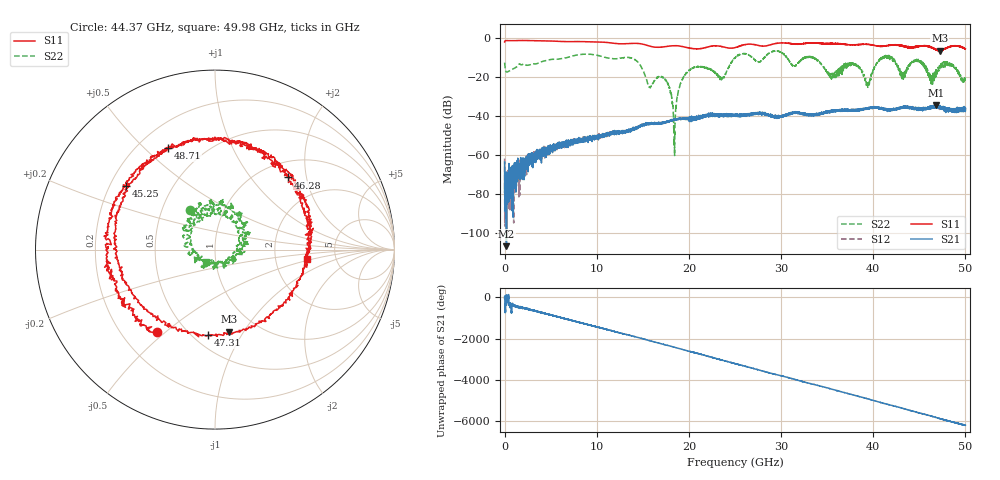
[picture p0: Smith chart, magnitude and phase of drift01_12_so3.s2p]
!Created with skrf (http://scikit-rf.org).
# Hz S RI R 50.0
!freq ReS11 ImS11 ReS21 ImS21 ReS12 ImS12 ReS22 ImS22
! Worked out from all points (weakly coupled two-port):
!   10001 points, 300 kHz to 50 GHz, reference 50 ohm
!   highest |S21| = -34.52 dB at 46.86 GHz (marker M1); lowest = -106.6 dB at 200.3 MHz (marker M2)
!   lowest |S11| = -6.7 dB at 47.21 GHz (marker M3), VSWR 2.73, Z = 37 - j43.2 ohm
!   |S11| at or under -10 dB: nowhere
!   |S22| runs from -60.2 to -6.6 dB; largest |S21 - S12| = 0.0037
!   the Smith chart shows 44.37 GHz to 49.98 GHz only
!   S11 on the Smith chart (normalised r, x): 44.37 GHz: 0.35, -0.47; 45.25 GHz: 0.26, +0.30; 46.28 GHz: 1.31, +1.57; 47.31 GHz: 0.59, -0.73; 48.71 GHz: 0.32, +0.59; 49.98 GHz: 3.05, -0.43
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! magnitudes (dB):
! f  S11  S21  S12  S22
! 300 kHz  -2.1  -63.6  -61.8  -12.7
! 200.3 MHz  -1.4  -106.6  -75.1  -17.5
! 8.335 GHz  -2.0  -51.9  -51.8  -8.5
! 16.67 GHz  -4.9  -43.7  -43.8  -19.9
! 17.74 GHz  -4.4  -42.6  -42.9  -23.6
! 18.43 GHz  -4.1  -41.9  -41.8  -55.7
! 19.91 GHz  -5.1  -41.4  -41.4  -17.1
! 23.59 GHz  -4.5  -39.2  -40.0  -20.4
! 25 GHz  -5.0  -39.4  -39.7  -10.3
! 33.34 GHz  -2.6  -39.3  -39.1  -9.9
! 39.37 GHz  -3.4  -36.1  -36.0  -23.8
! 41.67 GHz  -3.9  -36.8  -37.0  -9.9
! 43.18 GHz  -4.2  -35.5  -36.0  -18.8
! 44.37 GHz  -5.0  -36.1  -36.2  -11.7
! 45.25 GHz  -4.3  -36.6  -36.3  -12.1
! 46.28 GHz  -4.8  -36.2  -35.5  -21.3
! 46.86 GHz  -6.2  -34.5  -35.2  -16.6
! 47.21 GHz  -6.7  -35.4  -35.2  -14.6
! 47.31 GHz  -6.4  -35.6  -35.1  -14.4
! 48.71 GHz  -4.1  -37.8  -37.0  -14.2
! 49.98 GHz  -5.8  -37.0  -36.5  -21.4
! 50 GHz  -5.6  -36.9  -36.8  -21.7
